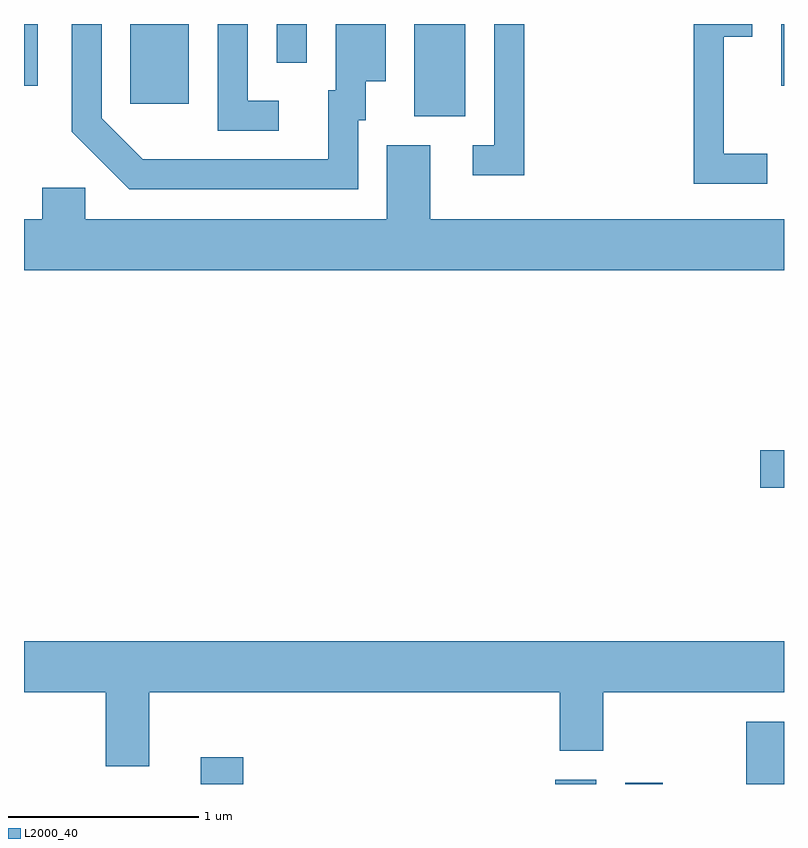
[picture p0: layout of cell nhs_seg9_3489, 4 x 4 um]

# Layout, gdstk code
import gdstk
lib = gdstk.Library(unit=1e-6, precision=1e-09)
def R(c, l, rs):  # rectangles x0, y0, x1, y1
    for r in rs: c.add(gdstk.rectangle(r[:2], r[2:], *l))
def P(c, l, *ps):  # polygons
    for p in ps: c.add(gdstk.Polygon(p, *l))
L2000_40 = (2000, 40)

nhs_seg9_3489 = lib.new_cell('nhs_seg9_3489')
R(nhs_seg9_3489, L2000_40, [(288.541,2002.432,288.764,2002.574), (290.406,2002.432,290.624,2002.454), (290.776,2002.432,290.974,2002.439), (291.411,2002.432,291.611,2002.759), (291.486,2003.991,291.611,2004.189), (289.666,2005.946,289.934,2006.432), (288.171,2006.011,288.479,2006.432), (287.611,2006.108,287.684,2006.432), (291.596,2006.108,291.611,2006.432), (288.941,2006.228,289.099,2006.432)])
P(nhs_seg9_3489, L2000_40, [(291.523,2005.749),(291.294,2005.749),(291.294,2006.366),(291.444,2006.366),(291.444,2006.432),(291.136,2006.432),(291.136,2005.591),(291.523,2005.591)],
  [(289.369,2005.926),(289.409,2005.926),(289.409,2006.131),(289.514,2006.131),(289.514,2006.432),(289.251,2006.432),(289.251,2006.084),(289.211,2006.084),(289.211,2005.719),(288.237,2005.719),(288.019,2005.937),(288.019,2006.432),(287.861,2006.432),(287.861,2005.864),(288.164,2005.561),(289.369,2005.561)],
  [(288.953,2006.029),(288.789,2006.029),(288.789,2006.432),(288.631,2006.432),(288.631,2005.871),(288.953,2005.871)],
  [(290.244,2006.432),(290.086,2006.432),(290.086,2005.794),(289.973,2005.794),(289.973,2005.636),(290.244,2005.636)],
  [(291.611,2005.404),(289.749,2005.404),(289.749,2005.794),(289.521,2005.794),(289.521,2005.404),(287.934,2005.404),(287.934,2005.569),(287.706,2005.569),(287.706,2005.404),(287.611,2005.404),(287.611,2005.136),(291.611,2005.136)],
  [(288.269,2002.916),(290.431,2002.916),(290.431,2002.606),(290.659,2002.606),(290.659,2002.916),(291.611,2002.916),(291.611,2003.184),(287.611,2003.184),(287.611,2002.916),(288.041,2002.916),(288.041,2002.526),(288.269,2002.526)])

lib.write_gds('nhs_seg9_3489.gds')
